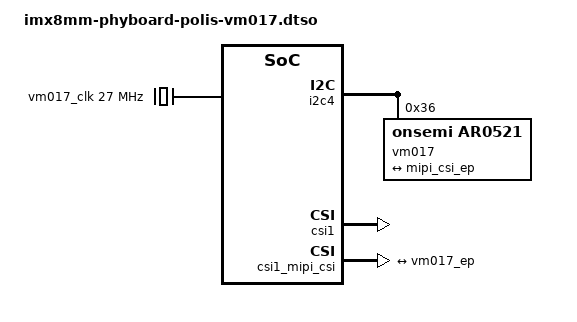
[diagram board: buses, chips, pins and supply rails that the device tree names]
// SPDX-License-Identifier: (GPL-2.0+ OR MIT)
/*
 * Copyright (C) 2025 PHYTEC Messtechnik GmbH
 * Author: Stefan Riedmüller <s.riedmueller@phytec.de>
 */

/dts-v1/;
/plugin/;

&{/} {
	vm017_clk: vm017-ext-clk {
		#clock-cells = <0>;
		compatible = "fixed-clock";
		clock-frequency = <27000000>;
	};
};

&i2c4 {
	#address-cells = <1>;
	#size-cells = <0>;

	vm017: camera@36 {
		#address-cells = <0x1>;
		#size-cells = <0x0>;

		compatible = "onsemi,ar0521";
		reg = <0x36>;
		clocks = <&vm017_clk>;
		clock-names = "ext";

		port@0 {
			reg = <0>;

			vm017_ep: endpoint {
				remote-endpoint = <&mipi_csi_ep>;
				bus-type = <4>; /* MIPI CSI-2 D-PHY */
				link-frequencies = /bits/ 64 <504000000>;
				data-lanes = <1 2 3 4>;
				clock-lanes = <0>;
				clock-noncontinuous = <1>;
			};
		};
	};
};

&csi1 {
	status = "okay";
};

&csi1_mipi_csi {
	status = "okay";

	ports {
		#address-cells = <1>;
		#size-cells = <0>;

		port@0 {
			reg = <0>;
			mipi_csi_ep: endpoint {
				remote-endpoint = <&vm017_ep>;
				data-lanes = <1 2 3 4>;
			};
		};
	};
};
